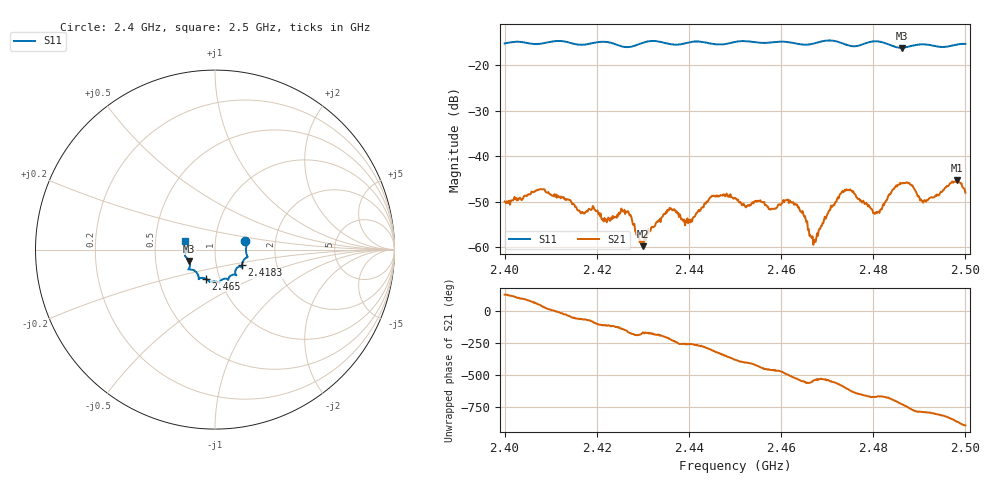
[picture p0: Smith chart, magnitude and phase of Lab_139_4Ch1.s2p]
# Hz S RI R 50
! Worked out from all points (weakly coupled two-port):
!   601 points, 2.4 GHz to 2.5 GHz, reference 50 ohm
!   highest |S21| = -45.30 dB at 2.4982 GHz (marker M1); lowest = -59.8 dB at 2.43 GHz (marker M2)
!   lowest |S11| = -16.1 dB at 2.4862 GHz (marker M3), VSWR 1.37, Z = 37.2 - j4.81 ohm
!   |S11| at or under -10 dB: start of sweep to end of sweep
!   S12 and S22 are empty: the file has one direction only
!   S11 on the Smith chart (normalised r, x): 2.4 GHz: 1.40, +0.13; 2.4183 GHz: 1.33, -0.24; 2.465 GHz: 0.86, -0.28; 2.5 GHz: 0.71, +0.07
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2.4e9  0.1688 0.0465  -0.00177 0.00262  0 0  0 0
2.408167e9  0.1742 -0.0175  0.00354 0.00248  0 0  0 0
2.416667e9  0.1548 -0.0679  0.00104 -0.00211  0 0  0 0
2.418333e9  0.1498 -0.0871  0.000717 -0.00254  0 0  0 0
2.421833e9  0.1528 -0.0995  -0.000833 -0.00177  0 0  0 0
2.4265e9  0.1214 -0.1033  -0.00222 -0.00102  0 0  0 0
2.43e9  0.1139 -0.1367  -0.000997 -0.000217  0 0  0 0
2.433333e9  0.1178 -0.1412  -0.0019 0.000145  0 0  0 0
2.440333e9  0.0752 -0.1647  -0.000352 0.00183  0 0  0 0
2.445167e9  0.061 -0.1618  0.00226 0.00283  0 0  0 0
2.45e9  0.0257 -0.18  0.00327 -0.0012  0 0  0 0
2.457833e9  -0.0162 -0.1786  -0.000479 -0.00256  0 0  0 0
2.4615e9  -0.0304 -0.1783  -0.00243 -0.00227  0 0  0 0
2.465e9  -0.0524 -0.1615  -0.00214 0.000309  0 0  0 0
2.466667e9  -0.0711 -0.1572  -0.00123 0.000237  0 0  0 0
2.473667e9  -0.0929 -0.1457  -0.00255 0.0032  0 0  0 0
2.4805e9  -0.148 -0.1107  0.00149 0.00181  0 0  0 0
2.483333e9  -0.141 -0.0966  0.00268 0.00259  0 0  0 0
2.486167e9  -0.1433 -0.0631  0.00501 -0.00051  0 0  0 0
2.491e9  -0.1677 -0.0337  0.00126 -0.00301  0 0  0 0
2.498167e9  -0.1662 0.0371  -0.00432 -0.00329  0 0  0 0
2.5e9  -0.1668 0.0471  -0.00391 -0.000627  0 0  0 0
